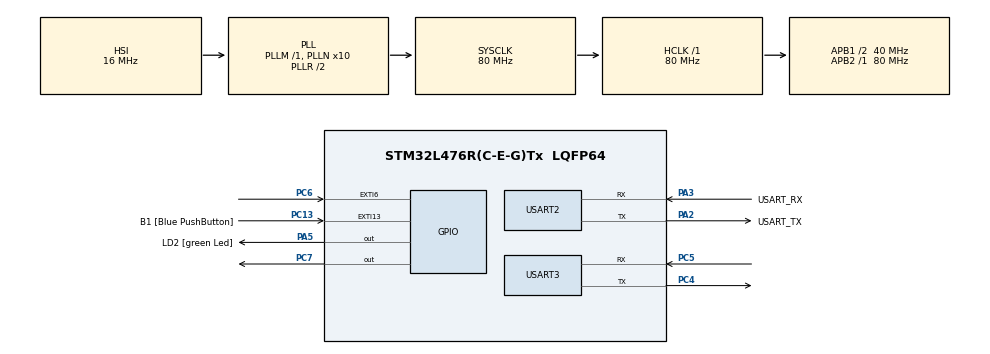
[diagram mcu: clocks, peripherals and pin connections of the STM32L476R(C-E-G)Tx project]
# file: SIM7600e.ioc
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Mcu.Family=STM32L4
Mcu.Name=STM32L476R(C-E-G)Tx
Mcu.Package=LQFP64
NVIC.EXTI9_5_IRQn=true\:0\:0\:false\:false\:true\:true\:true\:true
NVIC.PriorityGroup=NVIC_PRIORITYGROUP_4
NVIC.TIM2_IRQn=true\:0\:0\:false\:false\:true\:true\:true\:true
NVIC.TIM3_IRQn=true\:0\:0\:false\:false\:true\:true\:true\:true
NVIC.USART3_IRQn=true\:0\:0\:false\:false\:true\:true\:true\:true
PA13\ (JTMS-SWDIO).GPIO_Label=TMS
PA13\ (JTMS-SWDIO).Mode=Serial_Wire
PA13\ (JTMS-SWDIO).Signal=SYS_JTMS-SWDIO
PA14\ (JTCK-SWCLK).GPIO_Label=TCK
PA14\ (JTCK-SWCLK).Mode=Serial_Wire
PA14\ (JTCK-SWCLK).Signal=SYS_JTCK-SWCLK
PA2.GPIO_Label=USART_TX
PA2.GPIO_Mode=GPIO_MODE_AF_PP
PA2.GPIO_PuPd=GPIO_NOPULL
PA2.GPIO_Speed=GPIO_SPEED_FREQ_VERY_HIGH
PA2.Mode=Asynchronous
PA2.Signal=USART2_TX
PA3.GPIO_Label=USART_RX
PA3.GPIO_Mode=GPIO_MODE_AF_PP
PA3.GPIO_PuPd=GPIO_NOPULL
PA3.GPIO_Speed=GPIO_SPEED_FREQ_VERY_HIGH
PA3.Mode=Asynchronous
PA3.Signal=USART2_RX
PA5.GPIO_Label=LD2 [green Led]
PA5.GPIO_ModeDefaultOutputPP=GPIO_MODE_OUTPUT_PP
PA5.GPIO_PuPd=GPIO_NOPULL
PA5.GPIO_Speed=GPIO_SPEED_FREQ_LOW
PA5.Signal=GPIO_Output
PB3\ (JTDO-TRACESWO).GPIO_Label=SWO
PB3\ (JTDO-TRACESWO).Signal=SYS_JTDO-SWO
PC13.GPIO_Label=B1 [Blue PushButton]
PC13.GPIO_ModeDefaultEXTI=GPIO_MODE_IT_FALLING
PC13.GPIO_PuPd=GPIO_NOPULL
PC13.Signal=GPXTI13
PC14-OSC32_IN\ (PC14).Mode=LSE-External-Oscillator
PC14-OSC32_IN\ (PC14).Signal=RCC_OSC32_IN
PC15-OSC32_OUT\ (PC15).Mode=LSE-External-Oscillator
PC15-OSC32_OUT\ (PC15).Signal=RCC_OSC32_OUT
PC4.Mode=Asynchronous
PC4.Signal=USART3_TX
PC5.Mode=Asynchronous
PC5.Signal=USART3_RX
PC6.GPIO_ModeDefaultEXTI=GPIO_MODE_IT_FALLING
PC6.Signal=GPXTI6
PC7.Signal=GPIO_Output
PH0-OSC_IN\ (PH0).Signal=RCC_OSC_IN
PH1-OSC_OUT\ (PH1).Signal=RCC_OSC_OUT
ProjectManager.HeapSize=0x200
ProjectManager.StackSize=0x400
ProjectManager.TargetToolchain=STM32CubeIDE
RCC.ADCFreq_Value=64000000
RCC.AHBFreq_Value=80000000
RCC.APB1CLKDivider=RCC_HCLK_DIV2
RCC.APB1Freq_Value=40000000
RCC.APB1TimFreq_Value=80000000
RCC.APB2Freq_Value=80000000
RCC.APB2TimFreq_Value=80000000
RCC.CortexFreq_Value=80000000
RCC.HCLKFreq_Value=80000000
RCC.HSE_VALUE=8000000
RCC.HSI_VALUE=16000000
RCC.MSI_VALUE=4000000
RCC.PLLN=10
RCC.PLLSourceVirtual=RCC_PLLSOURCE_HSI
RCC.PREFETCH_ENABLE=1
RCC.SYSCLKFreq_VALUE=80000000
RCC.SYSCLKSource=RCC_SYSCLKSOURCE_PLLCLK
RCC.USBFreq_Value=64000000
RCC.VCOOutputFreq_Value=160000000
TIM2.Period=79999999
TIM2.Prescaler=0
TIM3.Period=64934
TIM3.Prescaler=6159
USART2.VirtualMode-Asynchronous=VM_ASYNC
USART3.VirtualMode-Asynchronous=VM_ASYNC
VP_TIM2_VS_ClockSourceINT.Mode=Internal
VP_TIM3_VS_ClockSourceINT.Mode=Internal
board=NUCLEO-L476RG

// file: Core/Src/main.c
/* USER CODE BEGIN Header */
/**
  ******************************************************************************
  * @file           : main.c
  * @brief          : Main program body
  ******************************************************************************
  * @attention
  *
  * Copyright (c) 2026 STMicroelectronics.
  * All rights reserved.
  *
  * This software is licensed under terms that can be found in the LICENSE file
  * in the root directory of this software component.
  * If no LICENSE file comes with this software, it is provided AS-IS.
  *
  ******************************************************************************
  */
/* USER CODE END Header */
#include "main.h"

/* USER CODE BEGIN Includes */
#include "log.h"
#include "SIM7600E.h"
#include "system_fsm.h"
#include "timer.h"
/* USER CODE END Includes */

TIM_HandleTypeDef htim2;
TIM_HandleTypeDef htim3;

UART_HandleTypeDef huart2;
UART_HandleTypeDef huart3;

void SystemClock_Config(void);
static void MX_GPIO_Init(void);
static void MX_USART2_UART_Init(void);
static void MX_USART3_UART_Init(void);
static void MX_TIM2_Init(void);
static void MX_TIM3_Init(void);
/* USER CODE BEGIN PFP */
int _write(int file, char *ptr, int len)
 {
     HAL_UART_Transmit(&huart2, (uint8_t *)ptr, len, 100);
     return len;
 }

/* USER CODE END PFP */

int main(void)
{

  /* MCU Configuration--------------------------------------------------------*/

  /* Reset of all peripherals, Initializes the Flash interface and the Systick. */
  HAL_Init();

  /* USER CODE BEGIN Init */
  SIM_UART_Init(&huart3);
  Tracking_Timer_Init(&htim2);
  sysHealth_Timer_Init(&htim2);

  /* USER CODE END Init */

  /* Configure the system clock */
  SystemClock_Config();

  /* Initialize all configured peripherals */
  MX_GPIO_Init();
  MX_USART2_UART_Init();
  MX_USART3_UART_Init();
  MX_TIM2_Init();
  MX_TIM3_Init();
  /* USER CODE BEGIN 2 */
  LOG_INFO("--------Starting New Session--------");
  //sendSMS();
  State_Connect_Enter();

  /* USER CODE END 2 */

  /* Infinite loop */
  /* USER CODE BEGIN WHILE */
	while (1) {

		Event_t ev = Event_Wait();
		//HAL_Delay(500);

		if (ev == EVENT_NONE) {
			continue;
		}

		switch (current_state) {

		case STATE_CONNECT:
			State_Connect_HandleEvent(ev);
			break;
		case STATE_IDLE:
			State_Idle_HandleEvent(ev);
			break;

		case STATE_TRACKING:
			State_Tracking_HandleEvent(ev);
			break;

		case STATE_PARK:
			State_Park_HandleEvent(ev);
			break;
		}

		/*if (checkCommand("Where")){
			break;
		}else {
			//LOG_INFO("waiting...");
			HAL_Delay(1000);
			continue;
		}*/

    /* USER CODE END WHILE */

	}
}

void SystemClock_Config(void)
{
  RCC_OscInitTypeDef RCC_OscInitStruct = {0};
  RCC_ClkInitTypeDef RCC_ClkInitStruct = {0};

  /** Configure the main internal regulator output voltage
  */
  if (HAL_PWREx_ControlVoltageScaling(PWR_REGULATOR_VOLTAGE_SCALE1) != HAL_OK)
  {
    Error_Handler();
  }

  /** Initializes the RCC Oscillators according to the specified parameters
  * in the RCC_OscInitTypeDef structure.
  */
  RCC_OscInitStruct.OscillatorType = RCC_OSCILLATORTYPE_HSI;
  RCC_OscInitStruct.HSIState = RCC_HSI_ON;
  RCC_OscInitStruct.HSICalibrationValue = RCC_HSICALIBRATION_DEFAULT;
  RCC_OscInitStruct.PLL.PLLState = RCC_PLL_ON;
  RCC_OscInitStruct.PLL.PLLSource = RCC_PLLSOURCE_HSI;
  RCC_OscInitStruct.PLL.PLLM = 1;
  RCC_OscInitStruct.PLL.PLLN = 10;
  RCC_OscInitStruct.PLL.PLLP = RCC_PLLP_DIV7;
  RCC_OscInitStruct.PLL.PLLQ = RCC_PLLQ_DIV2;
  RCC_OscInitStruct.PLL.PLLR = RCC_PLLR_DIV2;
  if (HAL_RCC_OscConfig(&RCC_OscInitStruct) != HAL_OK)
  {
    Error_Handler();
  }

  /** Initializes the CPU, AHB and APB buses clocks
  */
  RCC_ClkInitStruct.ClockType = RCC_CLOCKTYPE_HCLK|RCC_CLOCKTYPE_SYSCLK
                              |RCC_CLOCKTYPE_PCLK1|RCC_CLOCKTYPE_PCLK2;
  RCC_ClkInitStruct.SYSCLKSource = RCC_SYSCLKSOURCE_PLLCLK;
  RCC_ClkInitStruct.AHBCLKDivider = RCC_SYSCLK_DIV1;
  RCC_ClkInitStruct.APB1CLKDivider = RCC_HCLK_DIV2;
  RCC_ClkInitStruct.APB2CLKDivider = RCC_HCLK_DIV1;

  if (HAL_RCC_ClockConfig(&RCC_ClkInitStruct, FLASH_LATENCY_4) != HAL_OK)
  {
    Error_Handler();
  }
}

static void MX_TIM2_Init(void)
{

  TIM_ClockConfigTypeDef sClockSourceConfig = {0};
  TIM_MasterConfigTypeDef sMasterConfig = {0};

  htim2.Instance = TIM2;
  htim2.Init.Prescaler = 0;
  htim2.Init.CounterMode = TIM_COUNTERMODE_UP;
  htim2.Init.Period = 79999999;
  htim2.Init.ClockDivision = TIM_CLOCKDIVISION_DIV1;
  htim2.Init.AutoReloadPreload = TIM_AUTORELOAD_PRELOAD_DISABLE;
  if (HAL_TIM_Base_Init(&htim2) != HAL_OK)
  {
    Error_Handler();
  }
  sClockSourceConfig.ClockSource = TIM_CLOCKSOURCE_INTERNAL;
  if (HAL_TIM_ConfigClockSource(&htim2, &sClockSourceConfig) != HAL_OK)
  {
    Error_Handler();
  }
  sMasterConfig.MasterOutputTrigger = TIM_TRGO_RESET;
  sMasterConfig.MasterSlaveMode = TIM_MASTERSLAVEMODE_DISABLE;
  if (HAL_TIMEx_MasterConfigSynchronization(&htim2, &sMasterConfig) != HAL_OK)
  {
    Error_Handler();
  }

}

static void MX_TIM3_Init(void)
{

  TIM_ClockConfigTypeDef sClockSourceConfig = {0};
  TIM_MasterConfigTypeDef sMasterConfig = {0};

  htim3.Instance = TIM3;
  htim3.Init.Prescaler = 6159;
  htim3.Init.CounterMode = TIM_COUNTERMODE_UP;
  htim3.Init.Period = 64934;
  htim3.Init.ClockDivision = TIM_CLOCKDIVISION_DIV1;
  htim3.Init.AutoReloadPreload = TIM_AUTORELOAD_PRELOAD_DISABLE;
  if (HAL_TIM_Base_Init(&htim3) != HAL_OK)
  {
    Error_Handler();
  }
  sClockSourceConfig.ClockSource = TIM_CLOCKSOURCE_INTERNAL;
  if (HAL_TIM_ConfigClockSource(&htim3, &sClockSourceConfig) != HAL_OK)
  {
    Error_Handler();
  }
  sMasterConfig.MasterOutputTrigger = TIM_TRGO_RESET;
  sMasterConfig.MasterSlaveMode = TIM_MASTERSLAVEMODE_DISABLE;
  if (HAL_TIMEx_MasterConfigSynchronization(&htim3, &sMasterConfig) != HAL_OK)
  {
    Error_Handler();
  }

}

static void MX_USART2_UART_Init(void)
{

  huart2.Instance = USART2;
  huart2.Init.BaudRate = 115200;
  huart2.Init.WordLength = UART_WORDLENGTH_8B;
  huart2.Init.StopBits = UART_STOPBITS_1;
  huart2.Init.Parity = UART_PARITY_NONE;
  huart2.Init.Mode = UART_MODE_TX_RX;
  huart2.Init.HwFlowCtl = UART_HWCONTROL_NONE;
  huart2.Init.OverSampling = UART_OVERSAMPLING_16;
  huart2.Init.OneBitSampling = UART_ONE_BIT_SAMPLE_DISABLE;
  huart2.AdvancedInit.AdvFeatureInit = UART_ADVFEATURE_NO_INIT;
  if (HAL_UART_Init(&huart2) != HAL_OK)
  {
    Error_Handler();
  }

}

static void MX_USART3_UART_Init(void)
{

  huart3.Instance = USART3;
  huart3.Init.BaudRate = 115200;
  huart3.Init.WordLength = UART_WORDLENGTH_8B;
  huart3.Init.StopBits = UART_STOPBITS_1;
  huart3.Init.Parity = UART_PARITY_NONE;
  huart3.Init.Mode = UART_MODE_TX_RX;
  huart3.Init.HwFlowCtl = UART_HWCONTROL_NONE;
  huart3.Init.OverSampling = UART_OVERSAMPLING_16;
  huart3.Init.OneBitSampling = UART_ONE_BIT_SAMPLE_DISABLE;
  huart3.AdvancedInit.AdvFeatureInit = UART_ADVFEATURE_NO_INIT;
  if (HAL_UART_Init(&huart3) != HAL_OK)
  {
    Error_Handler();
  }

}

static void MX_GPIO_Init(void)
{
  GPIO_InitTypeDef GPIO_InitStruct = {0};

  /* GPIO Ports Clock Enable */
  __HAL_RCC_GPIOC_CLK_ENABLE();
  __HAL_RCC_GPIOH_CLK_ENABLE();
  __HAL_RCC_GPIOA_CLK_ENABLE();
  __HAL_RCC_GPIOB_CLK_ENABLE();

  /*Configure GPIO pin Output Level */
  HAL_GPIO_WritePin(LD2_GPIO_Port, LD2_Pin, GPIO_PIN_RESET);

  /*Configure GPIO pin Output Level */
  HAL_GPIO_WritePin(GPIOC, GPIO_PIN_7, GPIO_PIN_RESET);

  /*Configure GPIO pins : B1_Pin PC6 */
  GPIO_InitStruct.Pin = B1_Pin|GPIO_PIN_6;
  GPIO_InitStruct.Mode = GPIO_MODE_IT_FALLING;
  GPIO_InitStruct.Pull = GPIO_NOPULL;
  HAL_GPIO_Init(GPIOC, &GPIO_InitStruct);

  /*Configure GPIO pin : LD2_Pin */
  GPIO_InitStruct.Pin = LD2_Pin;
  GPIO_InitStruct.Mode = GPIO_MODE_OUTPUT_PP;
  GPIO_InitStruct.Pull = GPIO_NOPULL;
  GPIO_InitStruct.Speed = GPIO_SPEED_FREQ_LOW;
  HAL_GPIO_Init(LD2_GPIO_Port, &GPIO_InitStruct);

  /*Configure GPIO pin : PC7 */
  GPIO_InitStruct.Pin = GPIO_PIN_7;
  GPIO_InitStruct.Mode = GPIO_MODE_OUTPUT_PP;
  GPIO_InitStruct.Pull = GPIO_NOPULL;
  GPIO_InitStruct.Speed = GPIO_SPEED_FREQ_LOW;
  HAL_GPIO_Init(GPIOC, &GPIO_InitStruct);

  /* EXTI interrupt init*/
  HAL_NVIC_SetPriority(EXTI9_5_IRQn, 0, 0);
  HAL_NVIC_EnableIRQ(EXTI9_5_IRQn);

}

void Error_Handler(void)
{
  __disable_irq();
  while (1)
  {
  }
}
